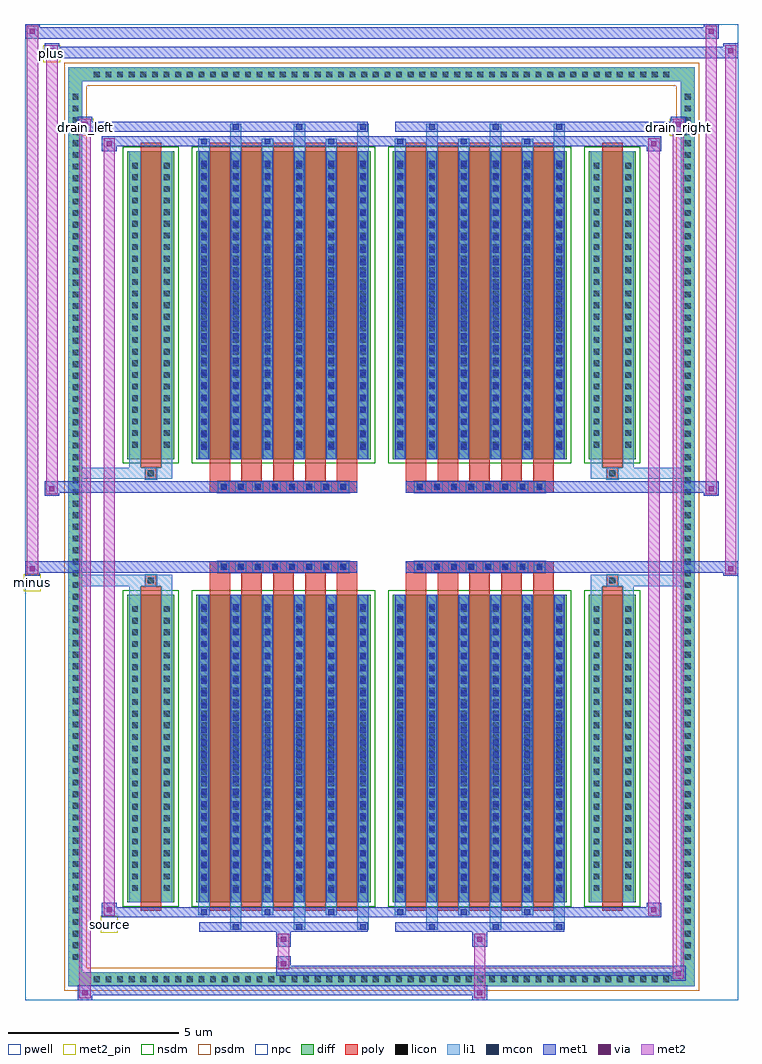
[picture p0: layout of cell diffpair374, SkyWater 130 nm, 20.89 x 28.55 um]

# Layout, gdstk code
import gdstk
lib = gdstk.Library(unit=1e-6, precision=5e-09)
def R(c, l, rs):  # rectangles x0, y0, x1, y1
    for r in rs: c.add(gdstk.rectangle(r[:2], r[2:], *l))
def A(c, l, x, y, w, h, nx, ny, dx, dy):  # array of equal rectangles
    R(c, l, [(x+i*dx, y+j*dy, x+i*dx+w, y+j*dy+h) for i in range(nx) for j in range(ny)])
def P(c, l, *ps):  # polygons
    for p in ps: c.add(gdstk.Polygon(p, *l))
pwell = (64, 44)
diff = (65, 20)
poly = (66, 20)
licon = (66, 44)
li1 = (67, 20)
mcon = (67, 44)
met1 = (68, 20)
via = (68, 44)
met2_pin = (69, 16)
met2 = (69, 20)
nsdm = (93, 44)
psdm = (94, 20)
npc = (95, 20)

diffpair374 = lib.new_cell('diffpair374')
R(diffpair374, pwell, [(-10.43,-13.84,10.43,14.71), (-7.75,-12.03,-0.01,-0.805), (0.01,-12.03,7.75,-0.805), (-7.75,0.805,-0.01,12.03), (0.01,0.805,7.75,12.03)])
A(diffpair374, diff, -8.535, -13.44, 0.41, 0.41, 50, 2, 0.34, 26.47)
A(diffpair374, diff, -9.16, -12.785, 0.41, 0.41, 1, 75, 0, 0.34)
A(diffpair374, diff, 8.75, -12.785, 0.41, 0.41, 1, 75, 0, 0.34)
R(diffpair374, diff, [(-8.535,-13.44,8.535,-13.03), (-9.16,-12.785,-8.75,12.785), (8.75,-12.785,9.16,12.785), (-7.44,-10.985,-6.06,-1.985), (-5.42,-10.985,-0.32,-1.985), (0.32,-10.985,5.42,-1.985), (6.06,-10.985,7.44,-1.985), (-7.44,1.985,-6.06,10.985), (-5.42,1.985,-0.32,10.985), (0.32,1.985,5.42,10.985), (6.06,1.985,7.44,10.985), (-8.535,13.03,8.535,13.44)])
P(diffpair374, diff, [(9.16,13.44),(-9.16,13.44),(-9.16,-13.03),(-8.75,-13.03),(-8.75,13.03),(8.75,13.03),(8.75,-13.03),(-8.75,-13.03),(-9.16,-13.03),(-9.16,-13.44),(9.16,-13.44)])
A(diffpair374, poly, -5.03, -11.235, 0.6, 9.5, 5, 2, 0.93, 12.97)
A(diffpair374, poly, 0.71, -11.235, 0.6, 9.5, 5, 2, 0.93, 12.97)
A(diffpair374, poly, -5.03, -1.735, 0.6, 0.4, 5, 2, 0.93, 3.07)
A(diffpair374, poly, 0.71, -1.735, 0.6, 0.4, 5, 2, 0.93, 3.07)
A(diffpair374, poly, -4.785, -1.335, 0.33, 0.33, 8, 2, 0.5, 2.34)
A(diffpair374, poly, 0.955, -1.335, 0.33, 0.33, 8, 2, 0.5, 2.34)
R(diffpair374, poly, [(-7.05,-11.235,-6.45,-1.735), (6.45,-11.235,7.05,-1.735), (-6.915,-1.735,-6.585,-1.405), (-6.915,-1.735,-6.585,-1.405), (6.585,-1.735,6.915,-1.405), (6.585,-1.735,6.915,-1.405), (-5.03,-1.335,-0.71,-1.005), (0.71,-1.335,5.03,-1.005), (-5.03,1.005,-0.71,1.335), (0.71,1.005,5.03,1.335), (-6.915,1.405,-6.585,1.735), (-6.915,1.405,-6.585,1.735), (6.585,1.405,6.915,1.735), (6.585,1.405,6.915,1.735), (-7.05,1.735,-6.45,11.235), (6.45,1.735,7.05,11.235)])
A(diffpair374, licon, -8.415, -13.32, 0.17, 0.17, 50, 2, 0.34, 26.47)
A(diffpair374, licon, -9.04, -12.665, 0.17, 0.17, 1, 75, 0, 0.34)
A(diffpair374, licon, 8.87, -12.665, 0.17, 0.17, 1, 75, 0, 0.34)
A(diffpair374, licon, -7.3, -10.65, 0.17, 0.17, 1, 25, 0, 0.34)
A(diffpair374, licon, -6.37, -10.65, 0.17, 0.17, 1, 25, 0, 0.34)
A(diffpair374, licon, -5.28, -10.65, 0.17, 0.17, 6, 25, 0.93, 0.34)
A(diffpair374, licon, 0.46, -10.65, 0.17, 0.17, 6, 25, 0.93, 0.34)
A(diffpair374, licon, 6.2, -10.65, 0.17, 0.17, 1, 25, 0, 0.34)
A(diffpair374, licon, 7.13, -10.65, 0.17, 0.17, 1, 25, 0, 0.34)
A(diffpair374, licon, -4.705, -1.255, 0.17, 0.17, 8, 2, 0.5, 2.34)
A(diffpair374, licon, 1.035, -1.255, 0.17, 0.17, 8, 2, 0.5, 2.34)
A(diffpair374, licon, -7.3, 2.32, 0.17, 0.17, 1, 25, 0, 0.34)
A(diffpair374, licon, -6.37, 2.32, 0.17, 0.17, 1, 25, 0, 0.34)
A(diffpair374, licon, -5.28, 2.32, 0.17, 0.17, 6, 25, 0.93, 0.34)
A(diffpair374, licon, 0.46, 2.32, 0.17, 0.17, 6, 25, 0.93, 0.34)
A(diffpair374, licon, 6.2, 2.32, 0.17, 0.17, 1, 25, 0, 0.34)
A(diffpair374, licon, 7.13, 2.32, 0.17, 0.17, 1, 25, 0, 0.34)
R(diffpair374, licon, [(-6.835,-1.655,-6.665,-1.485), (6.665,-1.655,6.835,-1.485), (-6.835,1.485,-6.665,1.655), (6.665,1.485,6.835,1.655)])
A(diffpair374, li1, -8.495, -13.4, 0.33, 0.33, 50, 2, 0.34, 26.47)
A(diffpair374, li1, -9.12, -12.745, 0.33, 0.33, 1, 75, 0, 0.34)
A(diffpair374, li1, 8.79, -12.745, 0.33, 0.33, 1, 75, 0, 0.34)
A(diffpair374, li1, -4.43, -11.79, 0.33, 0.805, 3, 2, 1.86, 22.775)
A(diffpair374, li1, -4.35, -11.79, 0.17, 0.17, 3, 2, 1.86, 23.41)
A(diffpair374, li1, 1.31, -11.79, 0.33, 0.805, 3, 2, 1.86, 22.775)
A(diffpair374, li1, 1.39, -11.79, 0.17, 0.17, 3, 2, 1.86, 23.41)
A(diffpair374, li1, -5.36, -11.36, 0.33, 0.375, 3, 2, 1.86, 22.345)
A(diffpair374, li1, -5.28, -11.36, 0.17, 0.17, 3, 2, 1.86, 22.55)
A(diffpair374, li1, 0.38, -11.36, 0.33, 0.375, 3, 2, 1.86, 22.345)
A(diffpair374, li1, 0.46, -11.36, 0.17, 0.17, 3, 2, 1.86, 22.55)
A(diffpair374, li1, -5.36, -10.985, 0.33, 9, 6, 2, 0.93, 12.97)
A(diffpair374, li1, 0.38, -10.985, 0.33, 9, 6, 2, 0.93, 12.97)
A(diffpair374, li1, -7.38, -10.73, 0.33, 0.33, 1, 25, 0, 0.34)
A(diffpair374, li1, -6.45, -10.73, 0.33, 0.33, 1, 25, 0, 0.34)
A(diffpair374, li1, -5.36, -10.73, 0.33, 0.33, 6, 25, 0.93, 0.34)
A(diffpair374, li1, 0.38, -10.73, 0.33, 0.33, 6, 25, 0.93, 0.34)
A(diffpair374, li1, 6.12, -10.73, 0.33, 0.33, 1, 25, 0, 0.34)
A(diffpair374, li1, 7.05, -10.73, 0.33, 0.33, 1, 25, 0, 0.34)
A(diffpair374, li1, -5.28, -10.71, 0.17, 0.17, 6, 24, 0.93, 0.36)
A(diffpair374, li1, -5.28, -10.71, 0.17, 8.45, 6, 2, 0.93, 12.97)
A(diffpair374, li1, 0.46, -10.71, 0.17, 0.17, 6, 24, 0.93, 0.36)
A(diffpair374, li1, 0.46, -10.71, 0.17, 8.45, 6, 2, 0.93, 12.97)
A(diffpair374, li1, -4.785, -1.335, 0.33, 0.33, 8, 2, 0.5, 2.34)
A(diffpair374, li1, 0.955, -1.335, 0.33, 0.33, 8, 2, 0.5, 2.34)
A(diffpair374, li1, -7.38, 2.24, 0.33, 0.33, 1, 25, 0, 0.34)
A(diffpair374, li1, -6.45, 2.24, 0.33, 0.33, 1, 25, 0, 0.34)
A(diffpair374, li1, -5.36, 2.24, 0.33, 0.33, 6, 25, 0.93, 0.34)
A(diffpair374, li1, 0.38, 2.24, 0.33, 0.33, 6, 25, 0.93, 0.34)
A(diffpair374, li1, 6.12, 2.24, 0.33, 0.33, 1, 25, 0, 0.34)
A(diffpair374, li1, 7.05, 2.24, 0.33, 0.33, 1, 25, 0, 0.34)
A(diffpair374, li1, -5.28, 2.26, 0.17, 0.17, 6, 24, 0.93, 0.36)
A(diffpair374, li1, 0.46, 2.26, 0.17, 0.17, 6, 24, 0.93, 0.36)
R(diffpair374, li1, [(-9.16,-13.44,-8.75,-13.03), (-9.16,-13.44,-8.75,-13.03), (-8.75,-13.44,8.75,-13.03), (8.75,-13.44,9.16,-13.03), (8.75,-13.44,9.16,-13.03), (-9.16,-13.03,-8.75,13.03), (8.75,-13.03,9.16,13.03), (-7.38,-10.985,-7.05,-1.985), (-6.45,-10.985,-6.12,-1.985), (6.12,-10.985,6.45,-1.985), (7.05,-10.985,7.38,-1.985), (-7.38,-1.985,-7.05,-1.405), (-6.45,-1.985,-6.12,-1.405), (6.12,-1.985,6.45,-1.405), (7.05,-1.985,7.38,-1.405), (-9.16,-1.735,-6.915,-1.405), (-7.38,-1.735,-6.915,-1.405), (-6.915,-1.735,-6.585,-1.405), (-6.585,-1.735,-6.12,-1.405), (6.12,-1.735,6.585,-1.405), (6.585,-1.735,6.915,-1.405), (6.585,-1.735,9.16,-1.405), (6.915,-1.735,7.38,-1.405), (-9.16,1.405,-6.915,1.735), (-7.38,1.405,-6.915,1.735), (-7.38,1.405,-7.05,1.985), (-6.915,1.405,-6.585,1.735), (-6.585,1.405,-6.12,1.735), (-6.45,1.405,-6.12,1.985), (6.12,1.405,6.585,1.735), (6.12,1.405,6.45,1.985), (6.585,1.405,6.915,1.735), (6.585,1.405,9.16,1.735), (6.915,1.405,7.38,1.735), (7.05,1.405,7.38,1.985), (-7.38,1.985,-7.05,10.985), (-6.45,1.985,-6.12,10.985), (6.12,1.985,6.45,10.985), (7.05,1.985,7.38,10.985), (-9.16,13.03,-8.75,13.44), (-9.16,13.03,-8.75,13.44), (-8.75,13.03,8.75,13.44), (8.75,13.03,9.16,13.44), (8.75,13.03,9.16,13.44)])
A(diffpair374, mcon, -4.35, -11.79, 0.17, 0.17, 3, 2, 1.86, 23.41)
A(diffpair374, mcon, 1.39, -11.79, 0.17, 0.17, 3, 2, 1.86, 23.41)
A(diffpair374, mcon, -5.28, -11.36, 0.17, 0.17, 3, 2, 1.86, 22.55)
A(diffpair374, mcon, 0.46, -11.36, 0.17, 0.17, 3, 2, 1.86, 22.55)
A(diffpair374, mcon, -5.28, -10.71, 0.17, 0.17, 6, 24, 0.93, 0.36)
A(diffpair374, mcon, 0.46, -10.71, 0.17, 0.17, 6, 24, 0.93, 0.36)
A(diffpair374, mcon, -4.705, -1.255, 0.17, 0.17, 8, 2, 0.5, 2.34)
A(diffpair374, mcon, 1.035, -1.255, 0.17, 0.17, 8, 2, 0.5, 2.34)
A(diffpair374, mcon, -5.28, 2.26, 0.17, 0.17, 6, 24, 0.93, 0.36)
A(diffpair374, mcon, 0.46, 2.26, 0.17, 0.17, 6, 24, 0.93, 0.36)
A(diffpair374, met1, -4.41, -11.85, 0.29, 0.29, 3, 2, 1.86, 23.41)
A(diffpair374, met1, 1.33, -11.85, 0.29, 0.29, 3, 2, 1.86, 23.41)
A(diffpair374, met1, -5.34, -11.42, 0.29, 0.29, 3, 2, 1.86, 22.55)
A(diffpair374, met1, 0.4, -11.42, 0.29, 0.29, 3, 2, 1.86, 22.55)
A(diffpair374, met1, -5.34, -10.985, 0.29, 9, 6, 2, 0.93, 12.97)
A(diffpair374, met1, 0.4, -10.985, 0.29, 9, 6, 2, 0.93, 12.97)
A(diffpair374, met1, -5.34, -10.77, 0.29, 0.29, 6, 24, 0.93, 0.36)
A(diffpair374, met1, 0.4, -10.77, 0.29, 0.29, 6, 24, 0.93, 0.36)
A(diffpair374, met1, -4.765, -1.315, 0.29, 0.29, 8, 2, 0.5, 2.34)
A(diffpair374, met1, 0.975, -1.315, 0.29, 0.29, 8, 2, 0.5, 2.34)
A(diffpair374, met1, -5.34, 2.2, 0.29, 0.29, 6, 24, 0.93, 0.36)
A(diffpair374, met1, 0.4, 2.2, 0.29, 0.29, 6, 24, 0.93, 0.36)
R(diffpair374, met1, [(-8.89,-13.84,-8.46,-13.41), (2.655,-13.84,3.085,-13.41), (-8.89,-13.7,3.085,-13.41), (8.46,-13.27,8.89,-12.84), (-3.085,-13.13,8.89,-12.84), (-3.085,-12.99,-2.655,-12.56), (-3.085,-12.28,-2.655,-11.85), (2.655,-12.28,3.085,-11.85), (-5.34,-11.85,-0.4,-11.56), (0.4,-11.85,5.34,-11.56), (-8.18,-11.42,-7.75,-10.99), (-8.18,-11.42,-5.34,-11.13), (-5.34,-11.42,-0.4,-11.13), (-0.4,-11.42,0.4,-11.13), (0.4,-11.42,5.34,-11.13), (5.34,-11.42,8.18,-11.13), (7.75,-11.42,8.18,-10.99), (-10.43,-1.435,-10,-1.005), (10,-1.435,10.43,-1.005), (-10.43,-1.335,-0.71,-1.005), (-5.03,-1.335,-0.71,-1.005), (0.71,-1.335,5.03,-1.005), (0.71,-1.335,10.43,-1.005), (-9.86,0.905,-9.43,1.335), (9.43,0.905,9.86,1.335), (-9.86,1.005,-5.03,1.335), (-5.03,1.005,-0.71,1.335), (0.71,1.005,5.03,1.335), (5.03,1.005,9.86,1.335), (-8.18,10.99,-7.75,11.42), (7.75,10.99,8.18,11.42), (-8.18,11.13,-5.34,11.42), (-5.34,11.13,-0.4,11.42), (-0.4,11.13,0.4,11.42), (0.4,11.13,5.34,11.42), (5.34,11.13,8.18,11.42), (-8.89,11.56,-8.46,11.99), (-8.89,11.56,-5.34,11.85), (-5.34,11.56,-0.4,11.85), (0.4,11.56,5.34,11.85), (5.34,11.56,8.89,11.85), (8.46,11.56,8.89,11.99), (-9.86,13.71,-9.43,14.14), (-9.86,13.71,-7.75,14.04), (-7.75,13.71,7.75,14.04), (7.75,13.71,10.43,14.04), (10,13.71,10.43,14.14), (-10.43,14.28,-10,14.71), (-10.43,14.28,-7.75,14.61), (-7.75,14.28,7.75,14.61), (7.75,14.28,9.86,14.61), (9.43,14.28,9.86,14.71)])
R(diffpair374, via, [(-8.75,-13.7,-8.6,-13.55), (2.795,-13.7,2.945,-13.55), (8.6,-13.13,8.75,-12.98), (-2.945,-12.85,-2.795,-12.7), (-2.945,-12.14,-2.795,-11.99), (2.795,-12.14,2.945,-11.99), (-8.04,-11.28,-7.89,-11.13), (7.89,-11.28,8.04,-11.13), (-10.29,-1.295,-10.14,-1.145), (10.14,-1.295,10.29,-1.145), (-9.72,1.045,-9.57,1.195), (9.57,1.045,9.72,1.195), (-8.04,11.13,-7.89,11.28), (7.89,11.13,8.04,11.28), (-8.75,11.7,-8.6,11.85), (8.6,11.7,8.75,11.85), (-9.72,13.85,-9.57,14), (10.14,13.85,10.29,14), (-10.29,14.42,-10.14,14.57), (9.57,14.42,9.72,14.57)])
R(diffpair374, met2_pin, [(-8.215,-11.87,-7.715,-11.37), (-10.465,-1.885,-9.965,-1.385), (-8.925,11.44,-8.425,11.94), (8.425,11.44,8.925,11.94), (-9.895,13.59,-9.395,14.09)])
R(diffpair374, met2, [(-8.84,-13.79,-8.51,-13.46), (-8.84,-13.79,-8.51,11.94), (2.705,-13.79,3.035,-13.46), (2.705,-13.46,3.035,-12.23), (8.51,-13.22,8.84,-12.89), (8.51,-13.22,8.84,11.94), (-3.035,-12.94,-2.705,-12.61), (-3.035,-12.61,-2.705,-12.23), (-3.035,-12.23,-2.705,-11.9), (2.705,-12.23,3.035,-11.9), (-8.13,-11.37,-7.8,-11.04), (-8.13,-11.37,-7.8,11.37), (7.8,-11.37,8.13,-11.04), (7.8,-11.37,8.13,11.37), (-10.38,-1.385,-10.05,-1.055), (-10.38,-1.385,-10.05,14.66), (10.05,-1.385,10.38,-1.055), (10.05,-1.385,10.38,14.09), (-9.81,0.955,-9.48,1.285), (-9.81,0.955,-9.48,14.09), (9.48,0.955,9.81,1.285), (9.48,0.955,9.81,14.66), (-8.13,11.04,-7.8,11.37), (7.8,11.04,8.13,11.37), (-8.84,11.61,-8.51,11.94), (8.51,11.61,8.84,11.94), (-9.81,13.76,-9.48,14.09), (10.05,13.76,10.38,14.09), (-10.38,14.33,-10.05,14.66), (9.48,14.33,9.81,14.66)])
P(diffpair374, met2, [(10.38,-1.385),(10.38,-1.385),(10.38,-1.055),(10.38,-1.055)],
  [(10.38,13.76),(10.38,13.76),(10.38,14.09),(10.38,14.09)],
  [(-10.05,-1.385),(-10.05,-1.385),(-10.05,-1.055),(-10.05,-1.055)],
  [(-10.05,14.33),(-10.05,14.33),(-10.05,14.66),(-10.05,14.66)],
  [(9.81,0.955),(9.81,0.955),(9.81,1.285),(9.81,1.285)],
  [(9.81,14.33),(9.81,14.33),(9.81,14.66),(9.81,14.66)],
  [(-9.48,0.955),(-9.48,0.955),(-9.48,1.285),(-9.48,1.285)],
  [(-9.48,13.76),(-9.48,13.76),(-9.48,14.09),(-9.48,14.09)],
  [(-8.51,-13.79),(-8.51,-13.79),(-8.51,-13.46),(-8.51,-13.46)],
  [(-8.51,11.61),(-8.51,11.61),(-8.51,11.94),(-8.51,11.94)],
  [(8.84,-13.22),(8.84,-13.22),(8.84,-12.89),(8.84,-12.89)],
  [(8.84,11.61),(8.84,11.61),(8.84,11.94),(8.84,11.94)],
  [(-7.8,-11.37),(-7.8,-11.37),(-7.8,-11.04),(-7.8,-11.04)],
  [(-7.8,11.04),(-7.8,11.04),(-7.8,11.37),(-7.8,11.37)],
  [(8.13,-11.37),(8.13,-11.37),(8.13,-11.04),(8.13,-11.04)],
  [(8.13,11.04),(8.13,11.04),(8.13,11.37),(8.13,11.37)])
R(diffpair374, nsdm, [(-7.57,-11.115,-5.93,-1.855), (-5.55,-11.115,-0.19,-1.855), (0.19,-11.115,5.55,-1.855), (5.93,-11.115,7.57,-1.855), (-7.57,1.855,-5.93,11.115), (-5.55,1.855,-0.19,11.115), (0.19,1.855,5.55,11.115), (5.93,1.855,7.57,11.115)])
P(diffpair374, psdm, [(9.29,13.57),(-9.29,13.57),(-9.29,-12.9),(-8.62,-12.9),(-8.62,12.9),(8.62,12.9),(8.62,-12.9),(-8.62,-12.9),(-9.29,-12.9),(-9.29,-13.57),(9.29,-13.57)])
A(diffpair374, npc, -4.805, -1.355, 0.37, 0.37, 8, 2, 0.5, 2.34)
A(diffpair374, npc, 0.935, -1.355, 0.37, 0.37, 8, 2, 0.5, 2.34)
R(diffpair374, npc, [(-6.935,-1.755,-6.565,-1.385), (6.565,-1.755,6.935,-1.385), (-4.805,-1.355,-3.935,-0.985), (-4.805,-1.355,-3.935,-0.985), (-4.305,-1.355,-3.435,-0.985), (-4.305,-1.355,-3.435,-0.985), (-3.805,-1.355,-2.935,-0.985), (-3.805,-1.355,-2.935,-0.985), (-3.305,-1.355,-2.435,-0.985), (-3.305,-1.355,-2.435,-0.985), (-2.805,-1.355,-1.935,-0.985), (-2.805,-1.355,-1.935,-0.985), (-2.305,-1.355,-1.435,-0.985), (-2.305,-1.355,-1.435,-0.985), (-1.805,-1.355,-0.935,-0.985), (-1.805,-1.355,-0.935,-0.985), (0.935,-1.355,1.805,-0.985), (0.935,-1.355,1.805,-0.985), (1.435,-1.355,2.305,-0.985), (1.435,-1.355,2.305,-0.985), (1.935,-1.355,2.805,-0.985), (1.935,-1.355,2.805,-0.985), (2.435,-1.355,3.305,-0.985), (2.435,-1.355,3.305,-0.985), (2.935,-1.355,3.805,-0.985), (2.935,-1.355,3.805,-0.985), (3.435,-1.355,4.305,-0.985), (3.435,-1.355,4.305,-0.985), (3.935,-1.355,4.805,-0.985), (3.935,-1.355,4.805,-0.985), (-4.805,0.985,-3.935,1.355), (-4.805,0.985,-3.935,1.355), (-4.305,0.985,-3.435,1.355), (-4.305,0.985,-3.435,1.355), (-3.805,0.985,-2.935,1.355), (-3.805,0.985,-2.935,1.355), (-3.305,0.985,-2.435,1.355), (-3.305,0.985,-2.435,1.355), (-2.805,0.985,-1.935,1.355), (-2.805,0.985,-1.935,1.355), (-2.305,0.985,-1.435,1.355), (-2.305,0.985,-1.435,1.355), (-1.805,0.985,-0.935,1.355), (-1.805,0.985,-0.935,1.355), (0.935,0.985,1.805,1.355), (0.935,0.985,1.805,1.355), (1.435,0.985,2.305,1.355), (1.435,0.985,2.305,1.355), (1.935,0.985,2.805,1.355), (1.935,0.985,2.805,1.355), (2.435,0.985,3.305,1.355), (2.435,0.985,3.305,1.355), (2.935,0.985,3.805,1.355), (2.935,0.985,3.805,1.355), (3.435,0.985,4.305,1.355), (3.435,0.985,4.305,1.355), (3.935,0.985,4.805,1.355), (3.935,0.985,4.805,1.355), (-6.935,1.385,-6.565,1.755), (6.565,1.385,6.935,1.755)])
diffpair374.add(gdstk.Label('minus', (-10.215,-1.635), layer=69, texttype=5))
diffpair374.add(gdstk.Label('drain_right', (8.675,11.69), layer=69, texttype=5))
diffpair374.add(gdstk.Label('drain_left', (-8.675,11.69), layer=69, texttype=5))
diffpair374.add(gdstk.Label('source', (-7.965,-11.62), layer=69, texttype=5))
diffpair374.add(gdstk.Label('plus', (-9.645,13.84), layer=69, texttype=5))

lib.write_gds('diffpair374.gds')
